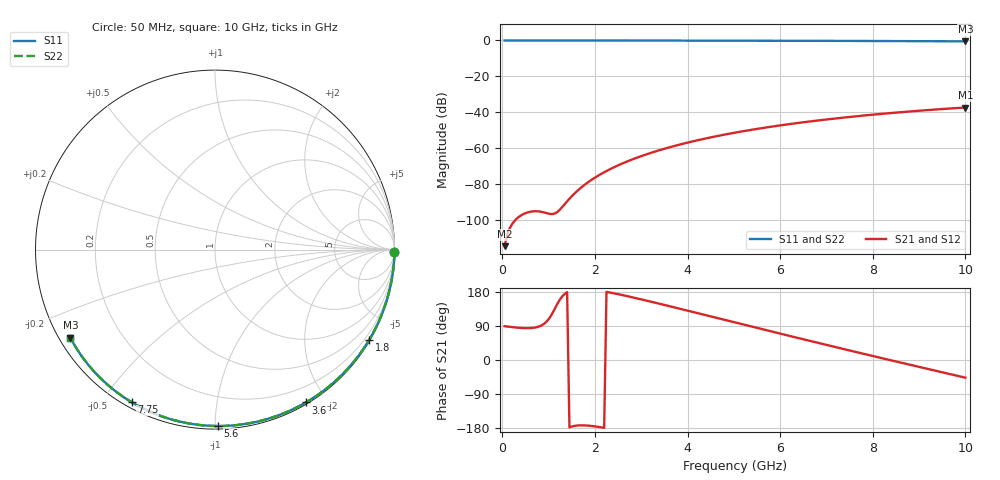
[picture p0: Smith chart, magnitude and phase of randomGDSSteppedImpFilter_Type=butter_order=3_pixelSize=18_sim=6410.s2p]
! freq	dB(S11)	phase(S11)	dB(S12)	phase(S12)
!  dB(S21)	phase(S21)	dB(S22)	phase(S22)
!S-par simulation data
#  GHz  S  DB  R 50
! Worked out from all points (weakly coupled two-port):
!   200 points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, 50 MHz to 10 GHz, reference 50 ohm
!   highest |S21| = -37.26 dB at 10 GHz (marker M1); lowest = -114.3 dB at 50 MHz (marker M2)
!   lowest |S11| = -0.5 dB at 10 GHz (marker M3), VSWR 34.51, Z = 1.56 - j14 ohm
!   |S11| at or under -10 dB: nowhere
!   |S22| runs from -0.5 to 0.0 dB; largest |S21 - S12| = 0
!   S11 on the Smith chart (normalised r, x): 50 MHz: open; 1.8 GHz: 0.03, -3.68; 3.6 GHz: 0.02, -1.76; 5.6 GHz: 0.02, -1.02; 7.75 GHz: 0.02, -0.59; 10 GHz: 0.03, -0.28
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0.05  -0.00 -0.9  -114.33 89.2  -114.33 89.2  -0.00 -0.9
0.45  -0.01 -7.7  -96.57 84.2  -96.57 84.2  -0.01 -7.7
0.9  -0.02 -15.3  -95.56 95.4  -95.56 95.4  -0.02 -15.3
1.75  -0.04 -29.5  -80.77 -172.4  -80.77 -172.4  -0.04 -29.5
1.8  -0.04 -30.4  -79.77 -172.7  -79.77 -172.7  -0.04 -30.4
1.95  -0.04 -32.8  -77.07 -174.4  -77.07 -174.4  -0.04 -32.8
2.1  -0.05 -35.3  -74.69 -177.0  -74.69 -177.0  -0.05 -35.3
2.3  -0.05 -38.6  -71.89 178.7  -71.89 178.7  -0.05 -38.6
2.5  -0.05 -41.8  -69.42 173.7  -69.42 173.7  -0.05 -41.8
2.9  -0.06 -48.2  -65.22 162.8  -65.22 162.8  -0.06 -48.2
3.4  -0.07 -56.1  -60.94 148.3  -60.94 148.3  -0.07 -56.1
3.6  -0.08 -59.2  -59.45 142.4  -59.45 142.4  -0.08 -59.2
4.3  -0.10 -69.9  -54.98 121.2  -54.98 121.2  -0.10 -69.9
5.05  -0.12 -81.1  -51.12 98.4  -51.12 98.4  -0.12 -81.1
5.6  -0.15 -89.0  -48.75 81.7  -48.75 81.7  -0.15 -89.0
6.15  -0.17 -96.8  -46.67 65.2  -46.67 65.2  -0.17 -96.8
6.7  -0.20 -104.4  -44.83 48.7  -44.83 48.7  -0.20 -104.4
7.2  -0.24 -111.2  -43.34 33.9  -43.34 33.9  -0.24 -111.2
7.75  -0.28 -118.7  -41.86 17.8  -41.86 17.8  -0.28 -118.7
8.35  -0.33 -126.7  -40.42 0.4  -40.42 0.4  -0.33 -126.7
9.2  -0.41 -138.0  -38.66 -23.9  -38.66 -23.9  -0.41 -138.0
10  -0.50 -148.6  -37.26 -46.6  -37.26 -46.6  -0.50 -148.6
